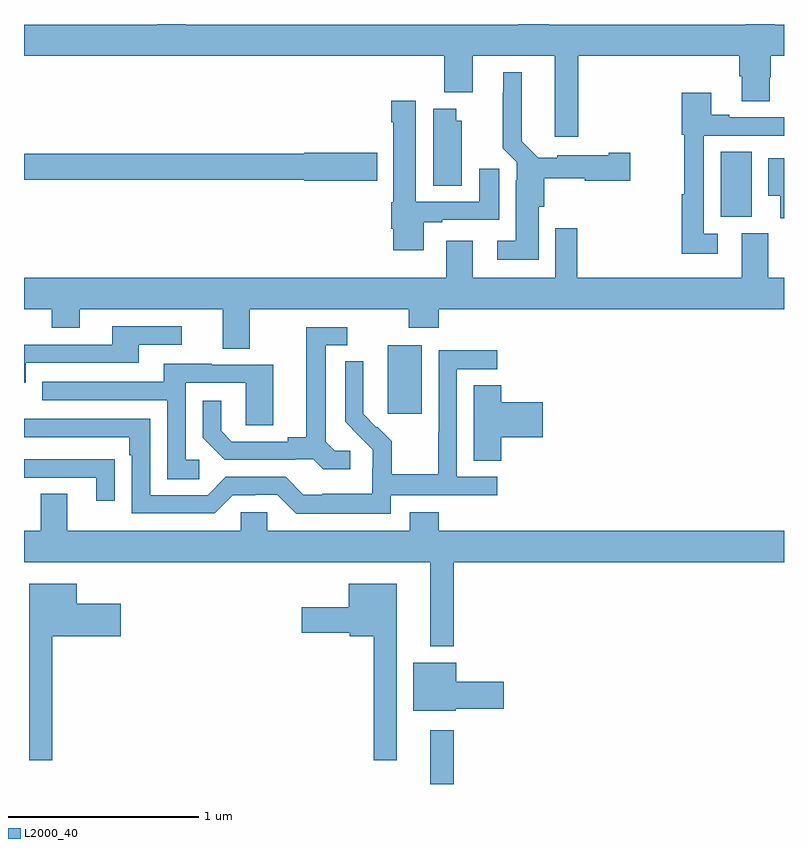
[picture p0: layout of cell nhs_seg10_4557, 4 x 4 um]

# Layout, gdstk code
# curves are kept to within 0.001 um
import gdstk
lib = gdstk.Library(unit=1e-6, precision=1e-09)
def R(c, l, rs):  # rectangles x0, y0, x1, y1
    for r in rs: c.add(gdstk.rectangle(r[:2], r[2:], *l))
def P(c, l, *ps):  # polygons
    for p in ps: c.add(gdstk.Polygon(p, *l))
L2000_40 = (2000, 40)

nhs_seg10_4557 = lib.new_cell('nhs_seg10_4557')
R(nhs_seg10_4557, L2000_40, [(373.139,1280.5,373.261,1280.782), (372.914,1282.449,373.093,1282.81), (374.666,1283.485,374.83,1283.828)])
P(nhs_seg10_4557, L2000_40, [(373.916,1284.332),(374.765,1284.332),(374.765,1284.226),(374.777,1284.226),(374.777,1284.094),(374.925,1284.094),(374.925,1284.219),(374.93,1284.219),(374.93,1284.332),(375,1284.332),(375,1284.496),(374.951,1284.496),(374.951,1284.5),(374.798,1284.5),(374.798,1284.496),(373.761,1284.496),(373.761,1284.5),(373.601,1284.5),(373.601,1284.496),(371.852,1284.496),(371.852,1284.5),(371.7,1284.5),(371.7,1284.496),(371,1284.496),(371,1284.332),(373.211,1284.332),(373.211,1284.14),(373.363,1284.14),(373.363,1284.332),(373.793,1284.332),(373.793,1283.907),(373.916,1283.907)],
  [(373.708,1283.538),(373.739,1283.538),(373.739,1283.687),(373.95,1283.687),(373.95,1283.675),(374.191,1283.675),(374.191,1283.822),(374.078,1283.822),(374.078,1283.809),(373.806,1283.809),(373.806,1283.797),(373.707,1283.797),(373.621,1283.884),(373.621,1284.247),(373.523,1284.247),(373.523,1284.137),(373.519,1284.137),(373.519,1283.846),(373.593,1283.772),(373.593,1283.678),(373.589,1283.678),(373.589,1283.359),(373.491,1283.359),(373.491,1283.258),(373.708,1283.258)],
  [(374.65,1283.397),(374.577,1283.397),(374.577,1283.913),(375,1283.913),(375,1284.009),(374.713,1284.009),(374.713,1284.022),(374.617,1284.022),(374.617,1284.139),(374.461,1284.139),(374.461,1283.916),(374.476,1283.916),(374.476,1283.604),(374.461,1283.604),(374.461,1283.292),(374.65,1283.292)],
  [(373.105,1283.457),(373.201,1283.457),(373.201,1283.469),(373.501,1283.469),(373.501,1283.737),(373.397,1283.737),(373.397,1283.565),(373.063,1283.565),(373.063,1284.097),(372.932,1284.097),(372.932,1283.984),(372.944,1283.984),(372.944,1283.562),(372.932,1283.562),(372.932,1283.422),(372.944,1283.422),(372.944,1283.31),(373.105,1283.31)],
  [(373.303,1283.991),(373.276,1283.991),(373.276,1284.055),(373.154,1284.055),(373.154,1283.65),(373.303,1283.65)],
  [(372.859,1283.822),(372.474,1283.822),(372.474,1283.816),(371,1283.816),(371,1283.68),(372.474,1283.68),(372.474,1283.675),(372.859,1283.675)],
  [(375,1283.794),(374.918,1283.794),(374.918,1283.597),(374.981,1283.597),(374.981,1283.478),(375,1283.478)],
  [(372.187,1283),(373.024,1283),(373.024,1282.901),(373.184,1282.901),(373.184,1283),(375,1283),(375,1283.164),(374.917,1283.164),(374.917,1283.4),(374.777,1283.4),(374.777,1283.164),(373.913,1283.164),(373.913,1283.425),(373.797,1283.425),(373.797,1283.164),(373.363,1283.164),(373.363,1283.359),(373.223,1283.359),(373.223,1283.164),(371,1283.164),(371,1283),(371.146,1283),(371.146,1282.901),(371.293,1282.901),(371.293,1283),(372.047,1283),(372.047,1282.792),(372.187,1282.792)],
  [(371.01,1282.716),(371.605,1282.716),(371.605,1282.812),(371.83,1282.812),(371.83,1282.908),(371.465,1282.908),(371.465,1282.812),(371,1282.812),(371,1282.613),(371.01,1282.613)],
  [(372.718,1282.254),(372.636,1282.254),(372.589,1282.301),(372.589,1282.809),(372.7,1282.809),(372.7,1282.905),(372.485,1282.905),(372.485,1282.325),(372.389,1282.325),(372.389,1282.302),(372.094,1282.302),(372.037,1282.359),(372.037,1282.516),(371.94,1282.516),(371.94,1282.322),(372.056,1282.206),(372.428,1282.206),(372.428,1282.209),(372.522,1282.209),(372.574,1282.157),(372.718,1282.157)],
  [(372.93,1282.02),(373.492,1282.02),(373.492,1282.116),(373.278,1282.116),(373.278,1282.683),(373.492,1282.683),(373.492,1282.782),(373.182,1282.782),(373.182,1282.352),(373.18,1282.352),(373.18,1282.129),(372.935,1282.129),(372.935,1282.303),(372.858,1282.38),(372.855,1282.377),(372.785,1282.448),(372.786,1282.724),(372.69,1282.724),(372.69,1282.406),(372.836,1282.258),(372.836,1282.161),(372.834,1282.161),(372.834,1282.027),(372.571,1282.027),(372.571,1282.023),(372.471,1282.023),(372.378,1282.116),(372.063,1282.116),(371.967,1282.02),(371.664,1282.02),(371.664,1282.422),(371,1282.422),(371,1282.326),(371.555,1282.326),(371.555,1282.229),(371.568,1282.229),(371.568,1281.924),(372.003,1281.924),(372.099,1282.02),(372.218,1282.02),(372.218,1282.023),(372.333,1282.023),(372.433,1281.923),(372.93,1281.923)],
  [(371.923,1282.206),(371.85,1282.206),(371.85,1282.611),(372.168,1282.611),(372.168,1282.387),(372.313,1282.387),(372.313,1282.707),(371.989,1282.707),(371.989,1282.711),(371.735,1282.711),(371.735,1282.617),(371.095,1282.617),(371.095,1282.521),(371.754,1282.521),(371.754,1282.105),(371.923,1282.105)],
  [(373.511,1282.325),(373.729,1282.325),(373.729,1282.508),(373.511,1282.508),(373.511,1282.598),(373.367,1282.598),(373.367,1282.201),(373.511,1282.201)],
  [(371.477,1282.208),(371.375,1282.208),(371.375,1282.209),(371,1282.209),(371,1282.113),(371.381,1282.113),(371.381,1281.99),(371.477,1281.99)],
  [(373.261,1281.668),(375,1281.668),(375,1281.832),(373.184,1281.832),(373.184,1281.931),(373.031,1281.931),(373.031,1281.832),(372.279,1281.832),(372.279,1281.93),(372.141,1281.93),(372.141,1281.832),(371.227,1281.832),(371.227,1282.027),(371.087,1282.027),(371.087,1281.832),(371,1281.832),(371,1281.668),(373.139,1281.668),(373.139,1281.224),(373.261,1281.224)],
  [(371.149,1281.278),(371.509,1281.278),(371.509,1281.448),(371.278,1281.448),(371.278,1281.553),(371.027,1281.553),(371.027,1280.625),(371.149,1280.625)],
  [(372.961,1281.553),(372.71,1281.553),(372.71,1281.43),(372.462,1281.43),(372.462,1281.296),(372.714,1281.296),(372.714,1281.278),(372.84,1281.278),(372.84,1280.625),(372.961,1280.625)],
  [(373.272,1280.896),(373.525,1280.896),(373.525,1281.038),(373.276,1281.038),(373.276,1281.139),(373.049,1281.139),(373.049,1280.885),(373.272,1280.885)])

lib.write_gds('nhs_seg10_4557.gds')
